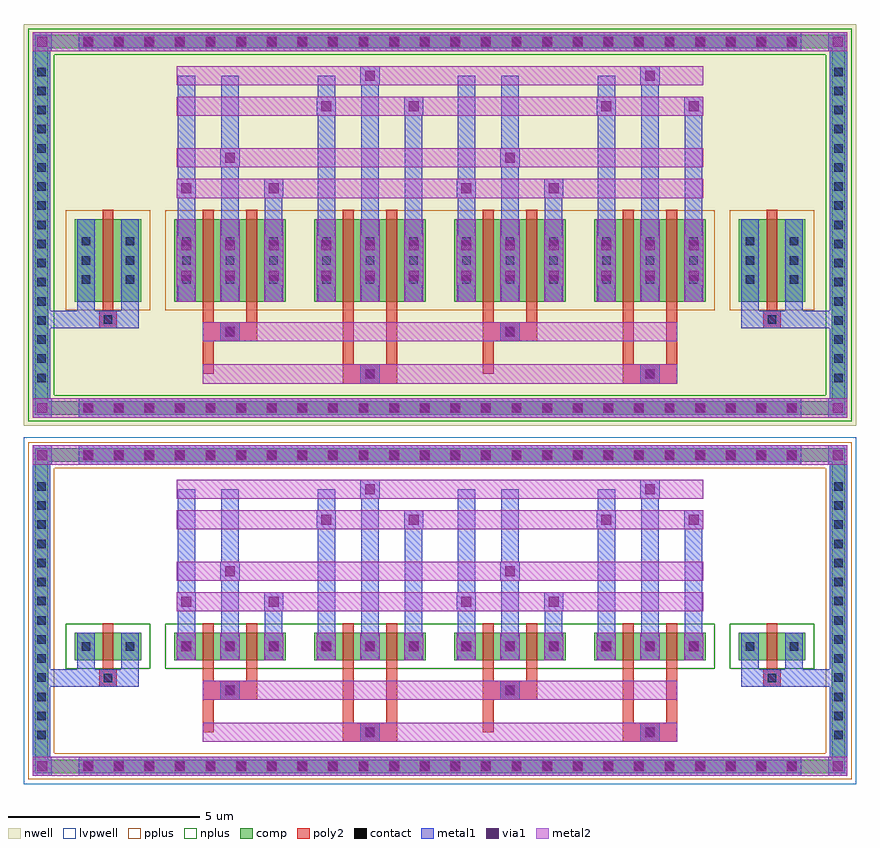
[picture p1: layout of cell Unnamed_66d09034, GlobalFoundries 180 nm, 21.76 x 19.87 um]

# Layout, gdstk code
import gdstk
lib = gdstk.Library(unit=1e-6, precision=5e-09)
def R(c, l, rs):  # rectangles x0, y0, x1, y1
    for r in rs: c.add(gdstk.rectangle(r[:2], r[2:], *l))
def A(c, l, x, y, w, h, nx, ny, dx, dy):  # array of equal rectangles
    R(c, l, [(x+i*dx, y+j*dy, x+i*dx+w, y+j*dy+h) for i in range(nx) for j in range(ny)])
def P(c, l, *ps):  # polygons
    for p in ps: c.add(gdstk.Polygon(p, *l))
nwell = (21, 0)
comp = (22, 0)
poly2 = (30, 0)
pplus = (31, 0)
nplus = (32, 0)
contact = (33, 0)
metal1 = (34, 0)
via1 = (35, 0)
metal2 = (36, 0)
lvpwell = (204, 0)

unnamed_43f0ca92_1 = lib.new_cell('Unnamed_43f0ca92$1')
A(unnamed_43f0ca92_1, comp, -9.38, -4.97, 0.36, 0.36, 24, 2, 0.8, 9.58)
A(unnamed_43f0ca92_1, comp, -10.6, -4.18, 0.36, 0.36, 1, 17, 0, 0.5)
A(unnamed_43f0ca92_1, comp, 10.24, -4.18, 0.36, 0.36, 1, 17, 0, 0.5)
R(unnamed_43f0ca92_1, comp, [(-9.38,-4.97,9.38,-4.61), (-10.6,-4.18,-10.24,4.18), (10.24,-4.18,10.6,4.18), (-9.38,4.61,9.38,4.97)])
P(unnamed_43f0ca92_1, comp, [(-10.6,-4.97),(-10.6,-4.61),(-10.24,-4.61),(10.24,-4.61),(10.24,4.61),(-10.24,4.61),(-10.24,-4.61),(-10.6,-4.61),(-10.6,4.97),(10.6,4.97),(10.6,-4.97)])
P(unnamed_43f0ca92_1, nplus, [(-10.76,-5.13),(-10.76,-4.45),(-10.08,-4.45),(10.08,-4.45),(10.08,4.45),(-10.08,4.45),(-10.08,-4.45),(-10.76,-4.45),(-10.76,5.13),(10.76,5.13),(10.76,-5.13)])
A(unnamed_43f0ca92_1, contact, -9.31, -4.9, 0.22, 0.22, 24, 2, 0.8, 9.58)
A(unnamed_43f0ca92_1, contact, -10.53, -4.11, 0.22, 0.22, 1, 17, 0, 0.5)
A(unnamed_43f0ca92_1, contact, 10.31, -4.11, 0.22, 0.22, 1, 17, 0, 0.5)
A(unnamed_43f0ca92_1, metal1, -9.45, -5.04, 0.5, 0.5, 24, 2, 0.8, 9.58)
A(unnamed_43f0ca92_1, metal1, -10.65, -4.23, 0.46, 0.46, 1, 17, 0, 0.5)
A(unnamed_43f0ca92_1, metal1, 10.19, -4.23, 0.46, 0.46, 1, 17, 0, 0.5)
R(unnamed_43f0ca92_1, metal1, [(-10.65,-5.04,-10.15,-4.54), (-10.65,-5.04,-10.15,-4.54), (-10.65,-5.04,-10.19,-4.61), (-9.45,-5.04,9.45,-4.54), (10.15,-5.04,10.65,-4.54), (10.15,-5.04,10.65,-4.54), (10.19,-5.04,10.65,-4.61), (-10.65,-4.61,-10.19,4.61), (10.19,-4.61,10.65,4.61), (-10.65,4.54,-10.15,5.04), (-10.65,4.54,-10.15,5.04), (-9.45,4.54,9.45,5.04), (10.15,4.54,10.65,5.04), (10.15,4.54,10.65,5.04), (-10.65,4.61,-10.19,5.04), (10.19,4.61,10.65,5.04)])
A(unnamed_43f0ca92_1, via1, -9.33, -4.92, 0.26, 0.26, 24, 2, 0.8, 9.58)
R(unnamed_43f0ca92_1, via1, [(-10.53,-4.92,-10.27,-4.66), (10.27,-4.92,10.53,-4.66), (-10.53,4.66,-10.27,4.92), (10.27,4.66,10.53,4.92)])
A(unnamed_43f0ca92_1, metal2, -9.45, -5.04, 0.5, 0.5, 24, 2, 0.8, 9.58)
R(unnamed_43f0ca92_1, metal2, [(-10.65,-5.04,-10.24,-4.54), (-10.65,-5.04,-10.15,-4.54), (-10.65,-5.04,-10.15,-4.54), (-10.24,-5.04,10.24,-4.54), (10.15,-5.04,10.65,-4.54), (10.15,-5.04,10.65,-4.54), (10.24,-5.04,10.65,-4.54), (-10.65,4.54,-10.24,5.04), (-10.65,4.54,-10.15,5.04), (-10.65,4.54,-10.15,5.04), (-10.24,4.54,10.24,5.04), (10.15,4.54,10.65,5.04), (10.15,4.54,10.65,5.04), (10.24,4.54,10.65,5.04)])

straight_route_217592ed = lib.new_cell('straight_route_217592ed')
R(straight_route_217592ed, metal1, [(-10.65,-2.71,-8.91,-2.25)])

straight_route_d0e2434d = lib.new_cell('straight_route_d0e2434d')
R(straight_route_d0e2434d, metal1, [(8.91,-2.71,10.65,-2.25)])

transformed_afceda7b = lib.new_cell('transformed_afceda7b')
R(transformed_afceda7b, nwell, [(-10.88,-5.25,10.88,5.25)])
A(transformed_afceda7b, comp, -6.95, -2.01, 2.92, 2.16, 4, 1, 3.66, 0)
R(transformed_afceda7b, comp, [(-9.55,-2.01,-7.81,0.15), (7.81,-2.01,9.55,0.15)])
R(transformed_afceda7b, poly2, [(-2.54,-4.15,-1.12,-3.65), (4.78,-4.15,6.2,-3.65), (-2.01,-4.08,-1.65,-3.72), (5.31,-4.08,5.67,-3.72), (-6.2,-3.9,-5.92,-2.25), (1.12,-3.9,1.4,-2.25), (-2.54,-3.65,-2.26,-2.25), (-1.4,-3.65,-1.12,-2.25), (4.78,-3.65,5.06,-2.25), (5.92,-3.65,6.2,-2.25), (-6.2,-3.05,-4.78,-2.55), (1.12,-3.05,2.54,-2.55), (-5.67,-2.98,-5.31,-2.62), (1.65,-2.98,2.01,-2.62), (-8.91,-2.71,-8.45,-2.25), (8.45,-2.71,8.91,-2.25), (-8.86,-2.66,-8.5,-2.3), (8.5,-2.66,8.86,-2.3), (-6.2,-2.55,-5.92,-2.25), (-5.06,-2.55,-4.78,-2.25), (1.12,-2.55,1.4,-2.25), (2.26,-2.55,2.54,-2.25), (-8.82,-2.25,-8.54,0.39), (-6.2,-2.25,-5.92,0.39), (-5.06,-2.25,-4.78,0.39), (-2.54,-2.25,-2.26,0.39), (-1.4,-2.25,-1.12,0.39), (1.12,-2.25,1.4,0.39), (2.26,-2.25,2.54,0.39), (4.78,-2.25,5.06,0.39), (5.92,-2.25,6.2,0.39), (8.54,-2.25,8.82,0.39)])
A(transformed_afceda7b, pplus, -7.18, -2.24, 3.38, 2.62, 4, 1, 3.66, 0)
R(transformed_afceda7b, pplus, [(-9.78,-2.24,-7.58,0.38), (-7.18,-2.24,7.18,0.38), (7.58,-2.24,9.78,0.38)])
A(transformed_afceda7b, contact, -9.36, -1.54, 0.22, 0.22, 1, 3, 0, 0.5)
A(transformed_afceda7b, contact, -8.22, -1.54, 0.22, 0.22, 1, 3, 0, 0.5)
A(transformed_afceda7b, contact, -6.74, -1.54, 0.22, 0.22, 3, 3, 1.14, 0.5)
A(transformed_afceda7b, contact, -3.08, -1.54, 0.22, 0.22, 3, 3, 1.14, 0.5)
A(transformed_afceda7b, contact, 0.58, -1.54, 0.22, 0.22, 3, 3, 1.14, 0.5)
A(transformed_afceda7b, contact, 4.24, -1.54, 0.22, 0.22, 3, 3, 1.14, 0.5)
A(transformed_afceda7b, contact, 8, -1.54, 0.22, 0.22, 1, 3, 0, 0.5)
A(transformed_afceda7b, contact, 9.14, -1.54, 0.22, 0.22, 1, 3, 0, 0.5)
R(transformed_afceda7b, contact, [(-1.94,-4.01,-1.72,-3.79), (5.38,-4.01,5.6,-3.79), (-5.6,-2.91,-5.38,-2.69), (1.72,-2.91,1.94,-2.69), (-8.79,-2.59,-8.57,-2.37), (8.57,-2.59,8.79,-2.37)])
A(transformed_afceda7b, metal1, -6.86, -2.01, 0.46, 2.16, 3, 1, 1.14, 0)
A(transformed_afceda7b, metal1, -3.2, -2.01, 0.46, 2.16, 3, 1, 1.14, 0)
A(transformed_afceda7b, metal1, 0.46, -2.01, 0.46, 2.16, 3, 1, 1.14, 0)
A(transformed_afceda7b, metal1, 4.12, -2.01, 0.46, 2.16, 3, 1, 1.14, 0)
A(transformed_afceda7b, metal1, -9.48, -1.66, 0.46, 0.46, 1, 3, 0, 0.5)
A(transformed_afceda7b, metal1, -8.34, -1.66, 0.46, 0.46, 1, 3, 0, 0.5)
A(transformed_afceda7b, metal1, -6.86, -1.66, 0.46, 0.46, 3, 3, 1.14, 0.5)
A(transformed_afceda7b, metal1, -3.2, -1.66, 0.46, 0.46, 3, 3, 1.14, 0.5)
A(transformed_afceda7b, metal1, 0.46, -1.66, 0.46, 0.46, 3, 3, 1.14, 0.5)
A(transformed_afceda7b, metal1, 4.12, -1.66, 0.46, 0.46, 3, 3, 1.14, 0.5)
A(transformed_afceda7b, metal1, 7.88, -1.66, 0.46, 0.46, 1, 3, 0, 0.5)
A(transformed_afceda7b, metal1, 9.02, -1.66, 0.46, 0.46, 1, 3, 0, 0.5)
A(transformed_afceda7b, metal1, -6.88, -1.58, 0.5, 0.5, 3, 2, 1.14, 0.8)
A(transformed_afceda7b, metal1, -6.88, -1.58, 0.5, 1.3, 3, 1, 1.14, 0)
A(transformed_afceda7b, metal1, -3.22, -1.58, 0.5, 0.5, 3, 2, 1.14, 0.8)
A(transformed_afceda7b, metal1, -3.22, -1.58, 0.5, 1.3, 3, 1, 1.14, 0)
A(transformed_afceda7b, metal1, 0.44, -1.58, 0.5, 0.5, 3, 2, 1.14, 0.8)
A(transformed_afceda7b, metal1, 0.44, -1.58, 0.5, 1.3, 3, 1, 1.14, 0)
A(transformed_afceda7b, metal1, 4.1, -1.58, 0.5, 0.5, 3, 2, 1.14, 0.8)
A(transformed_afceda7b, metal1, 4.1, -1.58, 0.5, 1.3, 3, 1, 1.14, 0)
R(transformed_afceda7b, metal1, [(-2.08,-4.15,-1.58,-3.65), (5.24,-4.15,5.74,-3.65), (-5.74,-3.05,-5.24,-2.55), (1.58,-3.05,2.08,-2.55), (-9.48,-2.71,-8.91,-2.25), (-9.48,-2.71,-9.02,-2.01), (-8.91,-2.71,-8.45,-2.25), (-8.45,-2.71,-7.88,-2.25), (-8.34,-2.71,-7.88,-2.01), (7.88,-2.71,8.45,-2.25), (7.88,-2.71,8.34,-2.01), (8.45,-2.71,8.91,-2.25), (8.91,-2.71,9.48,-2.25), (9.02,-2.71,9.48,-2.01), (-9.48,-2.01,-9.02,0.15), (-8.34,-2.01,-7.88,0.15), (7.88,-2.01,8.34,0.15), (9.02,-2.01,9.48,0.15), (-6.86,0.15,-6.4,1.2), (-6.86,0.15,-6.4,3.9), (-5.72,0.15,-5.26,2), (-5.72,0.15,-5.26,3.9), (-4.58,0.15,-4.12,1.2), (-3.2,0.15,-2.74,3.35), (-3.2,0.15,-2.74,3.9), (-2.06,0.15,-1.6,4.15), (-2.06,0.15,-1.6,3.9), (-0.92,0.15,-0.46,3.35), (0.46,0.15,0.92,1.2), (0.46,0.15,0.92,3.9), (1.6,0.15,2.06,2), (1.6,0.15,2.06,3.9), (2.74,0.15,3.2,1.2), (4.12,0.15,4.58,3.35), (4.12,0.15,4.58,3.9), (5.26,0.15,5.72,4.15), (5.26,0.15,5.72,3.9), (6.4,0.15,6.86,3.35), (-6.88,0.7,-6.38,1.2), (-4.6,0.7,-4.1,1.2), (0.44,0.7,0.94,1.2), (2.72,0.7,3.22,1.2), (-5.74,1.5,-5.24,2), (1.58,1.5,2.08,2), (-3.22,2.85,-2.72,3.35), (-0.94,2.85,-0.44,3.35), (4.1,2.85,4.6,3.35), (6.38,2.85,6.88,3.35), (-2.08,3.65,-1.58,4.15), (5.24,3.65,5.74,4.15)])
A(transformed_afceda7b, via1, -6.76, -1.46, 0.26, 0.26, 3, 2, 1.14, 0.8)
A(transformed_afceda7b, via1, -3.1, -1.46, 0.26, 0.26, 3, 2, 1.14, 0.8)
A(transformed_afceda7b, via1, 0.56, -1.46, 0.26, 0.26, 3, 2, 1.14, 0.8)
A(transformed_afceda7b, via1, 4.22, -1.46, 0.26, 0.26, 3, 2, 1.14, 0.8)
R(transformed_afceda7b, via1, [(-1.96,-4.03,-1.7,-3.77), (5.36,-4.03,5.62,-3.77), (-5.62,-2.93,-5.36,-2.67), (1.7,-2.93,1.96,-2.67), (-6.76,0.82,-6.5,1.08), (-4.48,0.82,-4.22,1.08), (0.56,0.82,0.82,1.08), (2.84,0.82,3.1,1.08), (-5.62,1.62,-5.36,1.88), (1.7,1.62,1.96,1.88), (-3.1,2.97,-2.84,3.23), (-0.82,2.97,-0.56,3.23), (4.22,2.97,4.48,3.23), (6.5,2.97,6.76,3.23), (-1.96,3.77,-1.7,4.03), (5.36,3.77,5.62,4.03)])
A(transformed_afceda7b, metal2, -6.88, -2.01, 0.5, 2.16, 3, 1, 1.14, 0)
A(transformed_afceda7b, metal2, -3.22, -2.01, 0.5, 2.16, 3, 1, 1.14, 0)
A(transformed_afceda7b, metal2, 0.44, -2.01, 0.5, 2.16, 3, 1, 1.14, 0)
A(transformed_afceda7b, metal2, 4.1, -2.01, 0.5, 2.16, 3, 1, 1.14, 0)
A(transformed_afceda7b, metal2, -6.88, -1.58, 0.5, 0.5, 3, 2, 1.14, 0.8)
A(transformed_afceda7b, metal2, -3.22, -1.58, 0.5, 0.5, 3, 2, 1.14, 0.8)
A(transformed_afceda7b, metal2, 0.44, -1.58, 0.5, 0.5, 3, 2, 1.14, 0.8)
A(transformed_afceda7b, metal2, 4.1, -1.58, 0.5, 0.5, 3, 2, 1.14, 0.8)
R(transformed_afceda7b, metal2, [(-6.2,-4.15,6.2,-3.65), (-2.54,-4.15,-1.12,-3.65), (-2.08,-4.15,-1.58,-3.65), (4.78,-4.15,6.2,-3.65), (5.24,-4.15,5.74,-3.65), (-6.2,-3.05,-4.78,-2.55), (-6.2,-3.05,6.2,-2.55), (-5.74,-3.05,-5.24,-2.55), (1.12,-3.05,2.54,-2.55), (1.58,-3.05,2.08,-2.55), (-6.88,0.7,-6.38,1.2), (-6.88,0.7,-4.1,1.2), (-6.88,0.7,6.88,1.2), (-4.6,0.7,-4.1,1.2), (0.44,0.7,0.94,1.2), (0.44,0.7,3.22,1.2), (2.72,0.7,3.22,1.2), (-6.88,1.5,-4.1,2), (-6.88,1.5,6.88,2), (-5.74,1.5,-5.24,2), (0.44,1.5,3.22,2), (1.58,1.5,2.08,2), (-6.88,2.85,6.88,3.35), (-3.22,2.85,-2.72,3.35), (-3.22,2.85,-0.44,3.35), (-0.94,2.85,-0.44,3.35), (4.1,2.85,4.6,3.35), (4.1,2.85,6.88,3.35), (6.38,2.85,6.88,3.35), (-6.88,3.65,6.88,4.15), (-3.22,3.65,-0.44,4.15), (-2.08,3.65,-1.58,4.15), (4.1,3.65,6.88,4.15), (5.24,3.65,5.74,4.15)])
transformed_afceda7b.add(gdstk.Reference(unnamed_43f0ca92_1, (0,0)))
transformed_afceda7b.add(gdstk.Reference(straight_route_217592ed, (0,0)))
transformed_afceda7b.add(gdstk.Reference(straight_route_d0e2434d, (0,0)))

unnamed_f609272a_1 = lib.new_cell('Unnamed_f609272a$1')
A(unnamed_f609272a_1, comp, -9.38, -4.25, 0.36, 0.36, 24, 2, 0.8, 8.14)
A(unnamed_f609272a_1, comp, -10.6, -3.43, 0.36, 0.36, 1, 14, 0, 0.5)
A(unnamed_f609272a_1, comp, 10.24, -3.43, 0.36, 0.36, 1, 14, 0, 0.5)
R(unnamed_f609272a_1, comp, [(-9.38,-4.25,9.38,-3.89), (-10.6,-3.43,-10.24,3.43), (10.24,-3.43,10.6,3.43), (-9.38,3.89,9.38,4.25)])
P(unnamed_f609272a_1, comp, [(-10.6,-4.25),(-10.6,-3.89),(-10.24,-3.89),(10.24,-3.89),(10.24,3.89),(-10.24,3.89),(-10.24,-3.89),(-10.6,-3.89),(-10.6,4.25),(10.6,4.25),(10.6,-4.25)])
P(unnamed_f609272a_1, pplus, [(-10.76,-4.41),(-10.76,-3.73),(-10.08,-3.73),(10.08,-3.73),(10.08,3.73),(-10.08,3.73),(-10.08,-3.73),(-10.76,-3.73),(-10.76,4.41),(10.76,4.41),(10.76,-4.41)])
A(unnamed_f609272a_1, contact, -9.31, -4.18, 0.22, 0.22, 24, 2, 0.8, 8.14)
A(unnamed_f609272a_1, contact, -10.53, -3.36, 0.22, 0.22, 1, 14, 0, 0.5)
A(unnamed_f609272a_1, contact, 10.31, -3.36, 0.22, 0.22, 1, 14, 0, 0.5)
A(unnamed_f609272a_1, metal1, -9.45, -4.32, 0.5, 0.5, 24, 2, 0.8, 8.14)
A(unnamed_f609272a_1, metal1, -10.65, -3.48, 0.46, 0.46, 1, 14, 0, 0.5)
A(unnamed_f609272a_1, metal1, 10.19, -3.48, 0.46, 0.46, 1, 14, 0, 0.5)
R(unnamed_f609272a_1, metal1, [(-10.65,-4.32,-10.15,-3.82), (-10.65,-4.32,-10.15,-3.82), (-10.65,-4.32,-10.19,-3.89), (-9.45,-4.32,9.45,-3.82), (10.15,-4.32,10.65,-3.82), (10.15,-4.32,10.65,-3.82), (10.19,-4.32,10.65,-3.89), (-10.65,-3.89,-10.19,3.89), (10.19,-3.89,10.65,3.89), (-10.65,3.82,-10.15,4.32), (-10.65,3.82,-10.15,4.32), (-9.45,3.82,9.45,4.32), (10.15,3.82,10.65,4.32), (10.15,3.82,10.65,4.32), (-10.65,3.89,-10.19,4.32), (10.19,3.89,10.65,4.32)])
A(unnamed_f609272a_1, via1, -9.33, -4.2, 0.26, 0.26, 24, 2, 0.8, 8.14)
R(unnamed_f609272a_1, via1, [(-10.53,-4.2,-10.27,-3.94), (10.27,-4.2,10.53,-3.94), (-10.53,3.94,-10.27,4.2), (10.27,3.94,10.53,4.2)])
A(unnamed_f609272a_1, metal2, -9.45, -4.32, 0.5, 0.5, 24, 2, 0.8, 8.14)
R(unnamed_f609272a_1, metal2, [(-10.65,-4.32,-10.24,-3.82), (-10.65,-4.32,-10.15,-3.82), (-10.65,-4.32,-10.15,-3.82), (-10.24,-4.32,10.24,-3.82), (10.15,-4.32,10.65,-3.82), (10.15,-4.32,10.65,-3.82), (10.24,-4.32,10.65,-3.82), (-10.65,3.82,-10.24,4.32), (-10.65,3.82,-10.15,4.32), (-10.65,3.82,-10.15,4.32), (-10.24,3.82,10.24,4.32), (10.15,3.82,10.65,4.32), (10.15,3.82,10.65,4.32), (10.24,3.82,10.65,4.32)])

straight_route_41a4ef78 = lib.new_cell('straight_route_41a4ef78')
R(straight_route_41a4ef78, metal1, [(-10.65,-1.99,-8.91,-1.53)])

straight_route_6855f438 = lib.new_cell('straight_route_6855f438')
R(straight_route_6855f438, metal1, [(8.91,-1.99,10.65,-1.53)])

transformed_b7d388a7 = lib.new_cell('transformed_b7d388a7')
A(transformed_b7d388a7, comp, -6.95, -1.29, 2.92, 0.72, 4, 1, 3.66, 0)
R(transformed_b7d388a7, comp, [(-9.55,-1.29,-7.81,-0.57), (7.81,-1.29,9.55,-0.57)])
R(transformed_b7d388a7, poly2, [(-2.54,-3.43,-1.12,-2.93), (4.78,-3.43,6.2,-2.93), (-2.01,-3.36,-1.65,-3), (5.31,-3.36,5.67,-3), (-6.2,-3.18,-5.92,-1.53), (1.12,-3.18,1.4,-1.53), (-2.54,-2.93,-2.26,-1.53), (-1.4,-2.93,-1.12,-1.53), (4.78,-2.93,5.06,-1.53), (5.92,-2.93,6.2,-1.53), (-6.2,-2.33,-4.78,-1.83), (1.12,-2.33,2.54,-1.83), (-5.67,-2.26,-5.31,-1.9), (1.65,-2.26,2.01,-1.9), (-8.91,-1.99,-8.45,-1.53), (8.45,-1.99,8.91,-1.53), (-8.86,-1.94,-8.5,-1.58), (8.5,-1.94,8.86,-1.58), (-6.2,-1.83,-5.92,-1.53), (-5.06,-1.83,-4.78,-1.53), (1.12,-1.83,1.4,-1.53), (2.26,-1.83,2.54,-1.53), (-8.82,-1.53,-8.54,-0.33), (-6.2,-1.53,-5.92,-0.33), (-5.06,-1.53,-4.78,-0.33), (-2.54,-1.53,-2.26,-0.33), (-1.4,-1.53,-1.12,-0.33), (1.12,-1.53,1.4,-0.33), (2.26,-1.53,2.54,-0.33), (4.78,-1.53,5.06,-0.33), (5.92,-1.53,6.2,-0.33), (8.54,-1.53,8.82,-0.33)])
A(transformed_b7d388a7, nplus, -7.18, -1.52, 3.38, 1.18, 4, 1, 3.66, 0)
R(transformed_b7d388a7, nplus, [(-9.78,-1.52,-7.58,-0.34), (-7.18,-1.52,7.18,-0.34), (7.58,-1.52,9.78,-0.34)])
A(transformed_b7d388a7, contact, -6.74, -1.04, 0.22, 0.22, 3, 1, 1.14, 0)
A(transformed_b7d388a7, contact, -3.08, -1.04, 0.22, 0.22, 3, 1, 1.14, 0)
A(transformed_b7d388a7, contact, 0.58, -1.04, 0.22, 0.22, 3, 1, 1.14, 0)
A(transformed_b7d388a7, contact, 4.24, -1.04, 0.22, 0.22, 3, 1, 1.14, 0)
R(transformed_b7d388a7, contact, [(-1.94,-3.29,-1.72,-3.07), (5.38,-3.29,5.6,-3.07), (-5.6,-2.19,-5.38,-1.97), (1.72,-2.19,1.94,-1.97), (-8.79,-1.87,-8.57,-1.65), (8.57,-1.87,8.79,-1.65), (-9.36,-1.04,-9.14,-0.82), (-8.22,-1.04,-8,-0.82), (8,-1.04,8.22,-0.82), (9.14,-1.04,9.36,-0.82)])
A(transformed_b7d388a7, metal1, -6.86, -1.29, 0.46, 0.72, 3, 1, 1.14, 0)
A(transformed_b7d388a7, metal1, -3.2, -1.29, 0.46, 0.72, 3, 1, 1.14, 0)
A(transformed_b7d388a7, metal1, 0.46, -1.29, 0.46, 0.72, 3, 1, 1.14, 0)
A(transformed_b7d388a7, metal1, 4.12, -1.29, 0.46, 0.72, 3, 1, 1.14, 0)
A(transformed_b7d388a7, metal1, -6.86, -1.16, 0.46, 0.46, 3, 1, 1.14, 0)
A(transformed_b7d388a7, metal1, -3.2, -1.16, 0.46, 0.46, 3, 1, 1.14, 0)
A(transformed_b7d388a7, metal1, 0.46, -1.16, 0.46, 0.46, 3, 1, 1.14, 0)
A(transformed_b7d388a7, metal1, 4.12, -1.16, 0.46, 0.46, 3, 1, 1.14, 0)
R(transformed_b7d388a7, metal1, [(-2.08,-3.43,-1.58,-2.93), (5.24,-3.43,5.74,-2.93), (-5.74,-2.33,-5.24,-1.83), (1.58,-2.33,2.08,-1.83), (-9.48,-1.99,-8.91,-1.53), (-9.48,-1.99,-9.02,-1.29), (-8.91,-1.99,-8.45,-1.53), (-8.45,-1.99,-7.88,-1.53), (-8.34,-1.99,-7.88,-1.29), (7.88,-1.99,8.45,-1.53), (7.88,-1.99,8.34,-1.29), (8.45,-1.99,8.91,-1.53), (8.91,-1.99,9.48,-1.53), (9.02,-1.99,9.48,-1.29), (-9.48,-1.29,-9.02,-0.57), (-8.34,-1.29,-7.88,-0.57), (7.88,-1.29,8.34,-0.57), (9.02,-1.29,9.48,-0.57), (-6.88,-1.18,-6.38,-0.68), (-6.88,-1.18,-6.38,-0.68), (-5.74,-1.18,-5.24,-0.68), (-5.74,-1.18,-5.24,-0.68), (-4.6,-1.18,-4.1,-0.68), (-4.6,-1.18,-4.1,-0.68), (-3.22,-1.18,-2.72,-0.68), (-3.22,-1.18,-2.72,-0.68), (-2.08,-1.18,-1.58,-0.68), (-2.08,-1.18,-1.58,-0.68), (-0.94,-1.18,-0.44,-0.68), (-0.94,-1.18,-0.44,-0.68), (0.44,-1.18,0.94,-0.68), (0.44,-1.18,0.94,-0.68), (1.58,-1.18,2.08,-0.68), (1.58,-1.18,2.08,-0.68), (2.72,-1.18,3.22,-0.68), (2.72,-1.18,3.22,-0.68), (4.1,-1.18,4.6,-0.68), (4.1,-1.18,4.6,-0.68), (5.24,-1.18,5.74,-0.68), (5.24,-1.18,5.74,-0.68), (6.38,-1.18,6.88,-0.68), (6.38,-1.18,6.88,-0.68), (-9.48,-1.16,-9.02,-0.7), (-8.34,-1.16,-7.88,-0.7), (7.88,-1.16,8.34,-0.7), (9.02,-1.16,9.48,-0.7), (-6.86,-0.57,-6.4,0.48), (-6.86,-0.57,-6.4,3.18), (-5.72,-0.57,-5.26,1.28), (-5.72,-0.57,-5.26,3.18), (-4.58,-0.57,-4.12,0.48), (-3.2,-0.57,-2.74,2.63), (-3.2,-0.57,-2.74,3.18), (-2.06,-0.57,-1.6,3.43), (-2.06,-0.57,-1.6,3.18), (-0.92,-0.57,-0.46,2.63), (0.46,-0.57,0.92,0.48), (0.46,-0.57,0.92,3.18), (1.6,-0.57,2.06,1.28), (1.6,-0.57,2.06,3.18), (2.74,-0.57,3.2,0.48), (4.12,-0.57,4.58,2.63), (4.12,-0.57,4.58,3.18), (5.26,-0.57,5.72,3.43), (5.26,-0.57,5.72,3.18), (6.4,-0.57,6.86,2.63), (-6.88,-0.02,-6.38,0.48), (-4.6,-0.02,-4.1,0.48), (0.44,-0.02,0.94,0.48), (2.72,-0.02,3.22,0.48), (-5.74,0.78,-5.24,1.28), (1.58,0.78,2.08,1.28), (-3.22,2.13,-2.72,2.63), (-0.94,2.13,-0.44,2.63), (4.1,2.13,4.6,2.63), (6.38,2.13,6.88,2.63), (-2.08,2.93,-1.58,3.43), (5.24,2.93,5.74,3.43)])
A(transformed_b7d388a7, via1, -6.76, -1.06, 0.26, 0.26, 3, 1, 1.14, 0)
A(transformed_b7d388a7, via1, -3.1, -1.06, 0.26, 0.26, 3, 1, 1.14, 0)
A(transformed_b7d388a7, via1, 0.56, -1.06, 0.26, 0.26, 3, 1, 1.14, 0)
A(transformed_b7d388a7, via1, 4.22, -1.06, 0.26, 0.26, 3, 1, 1.14, 0)
R(transformed_b7d388a7, via1, [(-1.96,-3.31,-1.7,-3.05), (5.36,-3.31,5.62,-3.05), (-5.62,-2.21,-5.36,-1.95), (1.7,-2.21,1.96,-1.95), (-6.76,0.1,-6.5,0.36), (-4.48,0.1,-4.22,0.36), (0.56,0.1,0.82,0.36), (2.84,0.1,3.1,0.36), (-5.62,0.9,-5.36,1.16), (1.7,0.9,1.96,1.16), (-3.1,2.25,-2.84,2.51), (-0.82,2.25,-0.56,2.51), (4.22,2.25,4.48,2.51), (6.5,2.25,6.76,2.51), (-1.96,3.05,-1.7,3.31), (5.36,3.05,5.62,3.31)])
A(transformed_b7d388a7, metal2, -6.88, -1.29, 0.5, 0.72, 3, 1, 1.14, 0)
A(transformed_b7d388a7, metal2, -3.22, -1.29, 0.5, 0.72, 3, 1, 1.14, 0)
A(transformed_b7d388a7, metal2, 0.44, -1.29, 0.5, 0.72, 3, 1, 1.14, 0)
A(transformed_b7d388a7, metal2, 4.1, -1.29, 0.5, 0.72, 3, 1, 1.14, 0)
A(transformed_b7d388a7, metal2, -6.88, -1.18, 0.5, 0.5, 3, 1, 1.14, 0)
A(transformed_b7d388a7, metal2, -3.22, -1.18, 0.5, 0.5, 3, 1, 1.14, 0)
A(transformed_b7d388a7, metal2, 0.44, -1.18, 0.5, 0.5, 3, 1, 1.14, 0)
A(transformed_b7d388a7, metal2, 4.1, -1.18, 0.5, 0.5, 3, 1, 1.14, 0)
R(transformed_b7d388a7, metal2, [(-6.2,-3.43,6.2,-2.93), (-2.54,-3.43,-1.12,-2.93), (-2.08,-3.43,-1.58,-2.93), (4.78,-3.43,6.2,-2.93), (5.24,-3.43,5.74,-2.93), (-6.2,-2.33,-4.78,-1.83), (-6.2,-2.33,6.2,-1.83), (-5.74,-2.33,-5.24,-1.83), (1.12,-2.33,2.54,-1.83), (1.58,-2.33,2.08,-1.83), (-6.88,-0.02,-6.38,0.48), (-6.88,-0.02,-4.1,0.48), (-6.88,-0.02,6.88,0.48), (-4.6,-0.02,-4.1,0.48), (0.44,-0.02,0.94,0.48), (0.44,-0.02,3.22,0.48), (2.72,-0.02,3.22,0.48), (-6.88,0.78,-4.1,1.28), (-6.88,0.78,6.88,1.28), (-5.74,0.78,-5.24,1.28), (0.44,0.78,3.22,1.28), (1.58,0.78,2.08,1.28), (-6.88,2.13,6.88,2.63), (-3.22,2.13,-2.72,2.63), (-3.22,2.13,-0.44,2.63), (-0.94,2.13,-0.44,2.63), (4.1,2.13,4.6,2.63), (4.1,2.13,6.88,2.63), (6.38,2.13,6.88,2.63), (-6.88,2.93,6.88,3.43), (-3.22,2.93,-0.44,3.43), (-2.08,2.93,-1.58,3.43), (4.1,2.93,6.88,3.43), (5.24,2.93,5.74,3.43)])
R(transformed_b7d388a7, lvpwell, [(-10.88,-4.53,10.88,4.53)])
transformed_b7d388a7.add(gdstk.Reference(unnamed_f609272a_1, (0,0)))
transformed_b7d388a7.add(gdstk.Reference(straight_route_41a4ef78, (0,0)))
transformed_b7d388a7.add(gdstk.Reference(straight_route_6855f438, (0,0)))

unnamed_66d09034 = lib.new_cell('Unnamed_66d09034')
unnamed_66d09034.add(gdstk.Reference(transformed_afceda7b, (0,10.09)))
unnamed_66d09034.add(gdstk.Reference(transformed_b7d388a7, (0,0)))

lib.write_gds('Unnamed_66d09034.gds')
